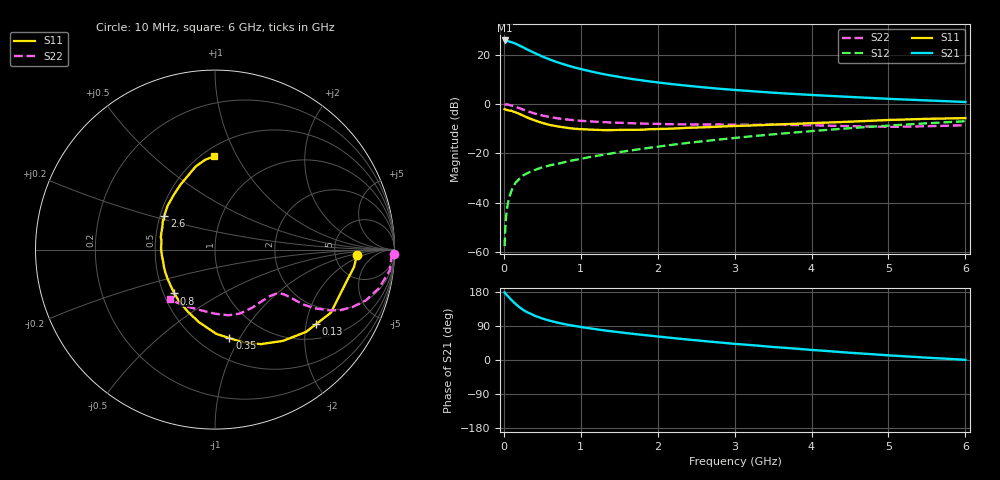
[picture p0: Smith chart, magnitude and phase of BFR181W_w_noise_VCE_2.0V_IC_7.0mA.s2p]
! Infineon Technologies  Discrete & RF Semiconductors
! BFR181W
! VCE =  2.0 V,  IC =  7.0 mA
! Common Emitter S-Parameters:  Jan 2017
# GHz  S  MA  R  50
!  f  S11  S21  S12  S22
! GHz  MAG  ANG  MAG  ANG  MAG  ANG  MAG  ANG
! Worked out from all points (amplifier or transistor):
!   77 points, 10 MHz to 6 GHz, reference 50 ohm
!   highest |S21| = 25.9 dB at 10 MHz (marker M1)
!   |S21| within 3 dB of that: start of sweep to 263.2 MHz
!   unconditionally stable (mu >= 1): 1.122 GHz to 3.108 GHz
!   at 130 MHz: K = 0.22, MSG = 29.0 dB, |S12| = -33.2 dB
!   at 2.2 GHz: K = 1.07, MAG = 10.7 dB, |S12| = -16.5 dB
!   at 6 GHz: K = 0.85, MSG = 3.9 dB, |S12| = -6.9 dB
!   lowest NFmin = 1.08 dB at 450 MHz
!   S11 on the Smith chart (normalised r, x): 10 MHz: 8.35, -1.36; 130 MHz: 1.40, -2.28; 350 MHz: 0.69, -0.91; 800 MHz: 0.57, -0.31; 2.6 GHz: 0.53, +0.22; 6 GHz: 0.57, +0.81
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0.01  0.7911 -2.2  19.66 178.6  0.0013 92.1  0.9948 -1.4
0.02  0.7805 -7.2  19.62 175.4  0.0033 92.3  0.984 -2.5
0.05  0.7519 -14.4  19.12 168.9  0.0092 83.6  0.9797 -6.9
0.1  0.735 -28.6  18.18 158.0  0.0175 76.3  0.9382 -13.3
0.13  0.6995 -36.5  17.39 152.4  0.022 72.5  0.9066 -16.4
0.15  0.6837 -42.1  16.97 148.4  0.025 70.7  0.8871 -18.6
0.2  0.6348 -53.2  15.57 139.7  0.0302 66.7  0.8301 -22.7
0.25  0.5859 -64.0  14.27 132.4  0.0354 63.6  0.7759 -25.8
0.3  0.5391 -73.4  12.99 126.4  0.0392 60.8  0.7245 -27.9
0.35  0.4996 -80.7  11.92 122.0  0.0425 59.6  0.6846 -29.1
0.4  0.4696 -89.1  10.94 116.7  0.0458 58.6  0.645 -30.5
0.5  0.4145 -102.4  9.276 109.5  0.0519 57.6  0.5872 -31.7
0.6  0.3772 -113.7  8.037 103.5  0.0572 57.6  0.5454 -32.1
0.8  0.3335 -132.9  6.301 94.2  0.0668 59.2  0.4908 -32.5
1.1  0.3047 -155.3  4.736 84.1  0.0831 61.7  0.4484 -33.4
1.5  0.2986 -176.8  3.566 73.3  0.1057 63.3  0.4169 -36.3
2.1  0.3149 160.4  2.645 60.0  0.1431 64.0  0.3933 -44.3
2.6  0.3382 146.6  2.191 50.0  0.1769 63.2  0.3847 -53.0
3.1  0.3635 134.9  1.891 41.1  0.213 61.2  0.3818 -61.9
4.1  0.416 115.9  1.506 25.2  0.291 55.2  0.3692 -80.6
5.1  0.481 101.5  1.262 11.1  0.3742 46.9  0.3471 -107.1
6  0.5197 90.4  1.105 0.5  0.4493 38.3  0.3742 -132.1
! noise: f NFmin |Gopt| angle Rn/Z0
0.45  1.08  0.24  17  0.22
0.9  1.13  0.22  31  0.21
1.9  1.55  0.09  86  0.19
2.4  1.7  0.08  96  0.23
